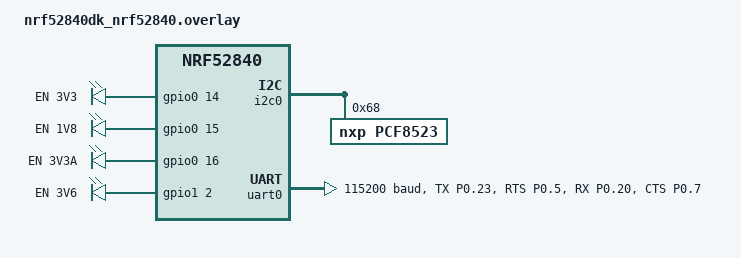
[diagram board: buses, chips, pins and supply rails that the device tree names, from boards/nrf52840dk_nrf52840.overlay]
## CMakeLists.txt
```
# SPDX-License-Identifier: Apache-2.0

cmake_minimum_required(VERSION 3.20.0)

find_package(Zephyr REQUIRED HINTS $ENV{ZEPHYR_BASE})
project(rtc)

target_sources(app PRIVATE
    src/main.c
    src/power_ctrl.c
)
```

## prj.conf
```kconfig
# ==========================
# I2C configuration
# ==========================
CONFIG_I2C=y
CONFIG_I2C_NRFX=y
CONFIG_I2C_SHELL=y

# ==========================
# RTC configuration (PCF8523)
# ==========================
CONFIG_RTC=y

# ==========================
# UART / Serial console
# ==========================
CONFIG_SERIAL=y
CONFIG_CONSOLE=y
CONFIG_UART_CONSOLE=y

# (Optional) Enable line control features (e.g. for USB CDC ACM)
# CONFIG_UART_LINE_CTRL=y

# ==========================
# Zephyr shell configuration
# ==========================
CONFIG_SHELL=y
CONFIG_SHELL_BACKEND_SERIAL=y

# Custom shell prompt
CONFIG_SHELL_PROMPT_UART="shell> "

# (Optional but recommended for larger commands)
CONFIG_SHELL_STACK_SIZE=4096

# ==========================
# Logging
# ==========================
CONFIG_LOG=y
CONFIG_LOG_DEFAULT_LEVEL=3

# ==========================
# GPIO configuration
# ==========================
CONFIG_GPIO=y
# ==========================
# PCF8523 RTC driver config
# ==========================
CONFIG_RTC_PCF8523=y
```

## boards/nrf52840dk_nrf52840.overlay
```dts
/*
 * Custom overlay for nRF52840-based board
 * Enables I2C0 and UART0 (for shell)
 */

/ {
	enables {
		compatible = "gpio-leds";

		en3v3: en3v3 {
			gpios = <&gpio0 14 GPIO_ACTIVE_HIGH>;
			label = "EN 3V3";
		};

		en1v8: en1v8 {
			gpios = <&gpio0 15 GPIO_ACTIVE_HIGH>;
			label = "EN 1V8";
		};

		en3v3a: en3v3a {
			gpios = <&gpio0 16 GPIO_ACTIVE_HIGH>;
			label = "EN 3V3A";
		};

		en3v6: en3v6 {
			gpios = <&gpio1 2 GPIO_ACTIVE_HIGH>;
			label = "EN 3V6";
		};
	};
};

&i2c0 {
    compatible = "nordic,nrf-twi";
    status = "okay";

    pinctrl-0 = <&i2c0_default>;
    pinctrl-1 = <&i2c0_sleep>;
    pinctrl-names = "default", "sleep";

    /* PCF8523 Real-Time Clock */
    pcf8523: pcf8523@68 {
        compatible = "nxp,pcf8523";
        reg = <0x68>;
        quartz-load-femtofarads = <7000>;
        battery-switch-over = "standard";
    };
};

/* ---------- PINCTRL configuration ---------- */
&pinctrl {
    uart0_default: uart0_default {
        group1 {
            psels = <NRF_PSEL(UART_TX, 0, 23)>,
                    <NRF_PSEL(UART_RTS, 0, 5)>;
        };
        group2 {
            psels = <NRF_PSEL(UART_RX, 0, 20)>,
                    <NRF_PSEL(UART_CTS, 0, 7)>;
            bias-pull-up;
        };
    };

    uart0_sleep: uart0_sleep {
        group1 {
            psels = <NRF_PSEL(UART_TX, 0, 23)>,
                    <NRF_PSEL(UART_RX, 0, 20)>,
                    <NRF_PSEL(UART_RTS, 0, 5)>,
                    <NRF_PSEL(UART_CTS, 0, 7)>;
            low-power-enable;
        };
    };
};

/* ---------- UART configuration ---------- */
&uart0 {
    compatible = "nordic,nrf-uarte";
    status = "okay";
    current-speed = <115200>;

    /* Link pinctrl groups */
    pinctrl-0 = <&uart0_default>;
    pinctrl-1 = <&uart0_sleep>;
    pinctrl-names = "default", "sleep";

    /* Optional: disable HW flow control if not used */
    // hw-flow-control;
};
```

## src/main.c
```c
/*
 * PCF8523 RTC Time Setting Example
 *
 * This application uses the official Zephyr PCF8523 driver to set and read
 * time. Modify the TIME_TO_SET structure below to set your desired time.
 */

#include <zephyr/device.h>
#include <zephyr/drivers/rtc.h>
#include <zephyr/kernel.h>
#include <zephyr/logging/log.h>
#include <zephyr/sys/printk.h>

#include "power_ctrl.h"

LOG_MODULE_REGISTER(main, LOG_LEVEL_DBG);

/* Get the RTC device from device tree */
static const struct device *rtc_dev = DEVICE_DT_GET(DT_NODELABEL(pcf8523));

/*
 * ============================================
 * CONFIGURE YOUR TIME HERE
 * ============================================
 * Modify these values to set the desired time on your RTC.
 *
 * Note: tm_year is years since 1900 (e.g., 2025 = 125)
 *       tm_mon is 0-11 (e.g., December = 11)
 *       tm_wday is 0-6 (Sunday = 0, Monday = 1, etc.)
 */
#define SET_YEAR 2025 /* Full year (e.g., 2025) */
#define SET_MONTH 12  /* Month 1-12 */
#define SET_DAY 17    /* Day of month 1-31 */
#define SET_HOUR 13   /* Hour 0-23 (24-hour format) */
#define SET_MINUTE 39 /* Minute 0-59 */
#define SET_SECOND 0  /* Second 0-59 */
#define SET_WEEKDAY 3 /* 0=Sunday, 1=Monday, ... 6=Saturday */

/* Helper function to print RTC time */
static void print_rtc_time(const struct rtc_time *tm) {
  static const char *weekdays[] = {"Sunday",   "Monday", "Tuesday", "Wednesday",
                                   "Thursday", "Friday", "Saturday"};

  printk("Time: %02d:%02d:%02d\n", tm->tm_hour, tm->tm_min, tm->tm_sec);
  printk("Date: %04d-%02d-%02d (%s)\n", tm->tm_year + 1900, tm->tm_mon + 1,
         tm->tm_mday,
         (tm->tm_wday >= 0 && tm->tm_wday <= 6) ? weekdays[tm->tm_wday]
                                                : "Unknown");
}

/* Set time on the RTC */
static int set_rtc_time(void) {
  struct rtc_time time_to_set = {
      .tm_sec = SET_SECOND,
      .tm_min = SET_MINUTE,
      .tm_hour = SET_HOUR,
      .tm_mday = SET_DAY,
      .tm_mon = SET_MONTH - 1,    /* Convert to 0-11 range */
      .tm_year = SET_YEAR - 1900, /* Convert to years since 1900 */
      .tm_wday = SET_WEEKDAY,
      .tm_yday = -1,  /* Not used by PCF8523 */
      .tm_isdst = -1, /* Not used */
      .tm_nsec = 0,
  };
  int ret;

  printk("\n--- Setting RTC Time ---\n");
  printk("Setting to: %04d-%02d-%02d %02d:%02d:%02d\n", SET_YEAR, SET_MONTH,
         SET_DAY, SET_HOUR, SET_MINUTE, SET_SECOND);

  ret = rtc_set_time(rtc_dev, &time_to_set);
  if (ret != 0) {
    LOG_ERR("Failed to set RTC time: %d", ret);
    return ret;
  }

  printk("RTC time set successfully!\n");
  return 0;
}

/* Read and display time from the RTC */
static int read_rtc_time(void) {
  struct rtc_time current_time;
  int ret;

  ret = rtc_get_time(rtc_dev, &current_time);
  if (ret != 0) {
    LOG_ERR("Failed to read RTC time: %d", ret);
    return ret;
  }

  print_rtc_time(&current_time);
  return 0;
}

int main(void) {
  int ret;

  printk("\n========================================\n");
  printk("PCF8523 RTC Driver Example\n");
  printk("========================================\n\n");

  /* Initialize and enable all power rails first */
  printk("--- Initializing Power Rails ---\n");
  ret = power_ctrl_init();
  if (ret != 0) {
    LOG_ERR("Failed to initialize power control: %d", ret);
    return ret;
  }

  /* Enable all power rails in sequence with delays for stability */
  printk("Enabling EN_3V3...\n");
  ret = power_ctrl_set(POWER_EN_3V3, true);
  if (ret != 0) {
    LOG_ERR("Failed to enable 3V3 rail: %d", ret);
    return ret;
  }
  k_msleep(10);

  printk("Enabling EN_1V8...\n");
  ret = power_ctrl_set(POWER_EN_1V8, true);
  if (ret != 0) {
    LOG_ERR("Failed to enable 1V8 rail: %d", ret);
    return ret;
  }
  k_msleep(10);

  printk("Enabling EN_3V3A...\n");
  ret = power_ctrl_set(POWER_EN_3V3A, true);
  if (ret != 0) {
    LOG_ERR("Failed to enable 3V3A rail: %d", ret);
    return ret;
  }
  k_msleep(10);

  printk("Enabling EN_3V6...\n");
  ret = power_ctrl_set(POWER_EN_3V6, true);
  if (ret != 0) {
    LOG_ERR("Failed to enable 3V6 rail: %d", ret);
    return ret;
  }
  k_msleep(50); /* Extra settle time after all rails enabled */

  printk("All power rails enabled!\n\n");

  /* Check if RTC device is ready */
  if (!device_is_ready(rtc_dev)) {
    LOG_ERR("RTC device not ready!");
    return -ENODEV;
  }

  printk("RTC device is ready.\n");

  /* Read current time before setting */
  printk("\n--- Current RTC Time (before setting) ---\n");
  ret = read_rtc_time();
  if (ret != 0) {
    printk("Could not read current time (RTC may be uninitialized)\n");
  }

  /* Set the new time */
  ret = set_rtc_time();
  if (ret != 0) {
    LOG_ERR("Failed to set time, aborting");
    return ret;
  }

  /* Small delay to ensure time is set */
  k_msleep(100);

  /* Continuously read and display time */
  printk("\n--- Reading RTC Time Continuously ---\n");
  while (1) {
    ret = read_rtc_time();
    if (ret != 0) {
      printk("Error reading time\n");
    }
    printk("---\n");
    k_msleep(1000); /* Read every second */
  }

  return 0;
}
```
